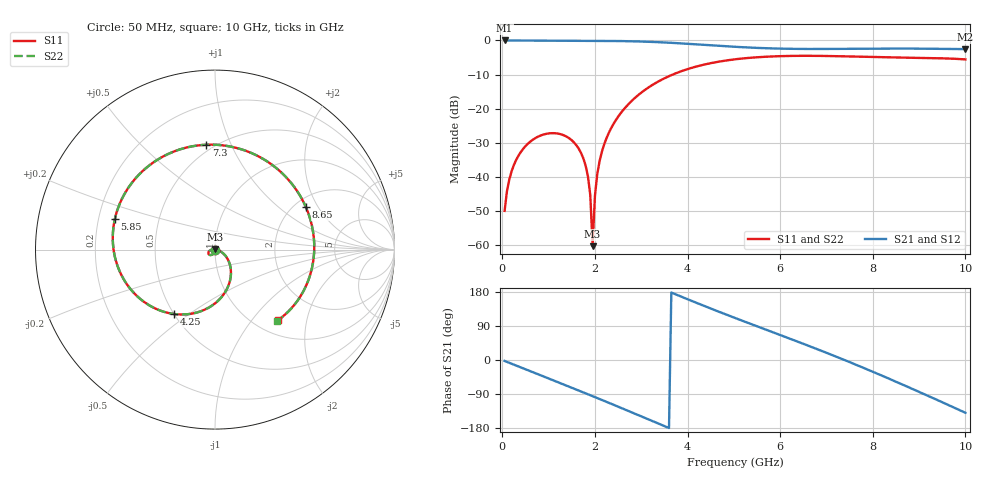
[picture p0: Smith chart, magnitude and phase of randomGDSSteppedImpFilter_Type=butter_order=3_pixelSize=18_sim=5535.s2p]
! freq	dB(S11)	phase(S11)	dB(S12)	phase(S12)
!  dB(S21)	phase(S21)	dB(S22)	phase(S22)
!S-par simulation data
#  GHz  S  DB  R 50
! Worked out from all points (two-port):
!   200 points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, 50 MHz to 10 GHz, reference 50 ohm
!   highest |S21| = 0.00 dB at 50 MHz (marker M1); lowest = -2.5 dB at 10 GHz (marker M2)
!   |S21| within 3 dB of the highest: start of sweep to end of sweep
!   lowest |S11| = -60.4 dB at 1.95 GHz (marker M3), VSWR 1.00, Z = 50 + j0.0956 ohm
!   |S11| at or under -10 dB: start of sweep to 3.682 GHz
!   |S22| runs from -58.1 to -4.5 dB; largest |S21 - S12| = 0
!   S11 on the Smith chart (normalised r, x): 50 MHz: 1.00, -0.01; 4.25 GHz: 0.50, -0.44; 5.85 GHz: 0.27, +0.14; 7.3 GHz: 0.46, +0.81; 8.65 GHz: 2.30, +1.58; 10 GHz: 1.25, -1.36
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0.05  -50.03 -86.0  -0.00 -2.5  -0.00 -2.5  -50.03 -86.1
0.15  -40.88 -95.2  -0.02 -7.4  -0.02 -7.4  -40.88 -95.2
0.25  -36.57 -101.2  -0.02 -12.2  -0.02 -12.2  -36.57 -101.2
0.65  -29.23 -122.1  -0.05 -31.7  -0.05 -31.7  -29.23 -122.2
1.3  -27.69 -154.6  -0.08 -63.4  -0.08 -63.4  -27.69 -154.8
1.75  -34.62 -178.2  -0.10 -85.5  -0.10 -85.5  -34.61 -179.0
1.9  -45.40 168.8  -0.11 -92.9  -0.11 -92.9  -45.30 165.6
1.95  -60.39 88.5  -0.11 -95.4  -0.11 -95.4  -58.08 89.7
2  -45.71 0.0  -0.11 -97.9  -0.11 -97.9  -45.63 3.8
2.05  -39.29 -7.2  -0.12 -100.4  -0.12 -100.4  -39.28 -5.3
2.25  -28.69 -20.0  -0.14 -110.4  -0.14 -110.4  -28.70 -19.4
2.7  -19.05 -43.6  -0.22 -133.3  -0.22 -133.3  -19.05 -43.4
3.4  -11.82 -79.7  -0.53 -169.2  -0.53 -169.2  -11.82 -79.5
4.25  -7.45 -122.2  -1.20 148.0  -1.20 148.0  -7.45 -122.2
5.05  -5.50 -160.2  -1.89 109.8  -1.89 109.8  -5.50 -160.2
5.85  -4.68 163.1  -2.35 72.9  -2.35 72.9  -4.68 163.1
6.7  -4.52 123.7  -2.51 33.4  -2.51 33.4  -4.51 123.6
7.3  -4.64 94.7  -2.47 4.4  -2.47 4.4  -4.64 94.5
8.35  -4.98 40.9  -2.37 -49.3  -2.37 -49.3  -4.98 40.5
8.65  -5.05 25.0  -2.37 -65.2  -2.37 -65.2  -5.05 24.6
9.3  -5.19 -10.0  -2.45 -100.4  -2.45 -100.4  -5.19 -10.5
10  -5.57 -48.3  -2.55 -139.3  -2.55 -139.3  -5.57 -49.1
